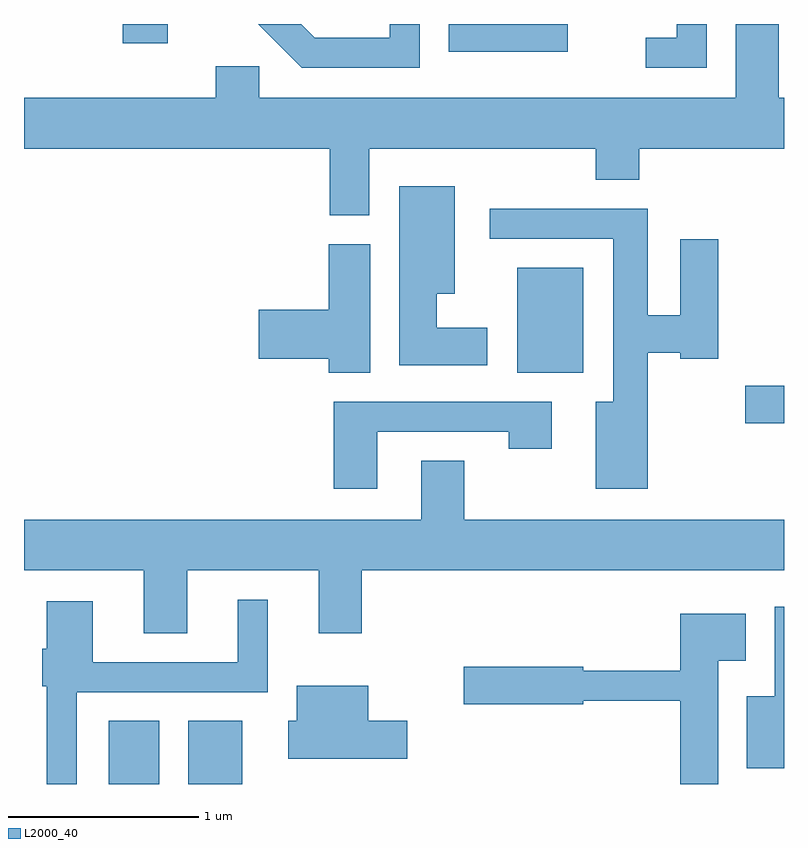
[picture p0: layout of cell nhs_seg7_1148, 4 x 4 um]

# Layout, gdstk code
import gdstk
lib = gdstk.Library(unit=1e-6, precision=1e-09)
def R(c, l, rs):  # rectangles x0, y0, x1, y1
    for r in rs: c.add(gdstk.rectangle(r[:2], r[2:], *l))
def P(c, l, *ps):  # polygons
    for p in ps: c.add(gdstk.Polygon(p, *l))
L2000_40 = (2000, 40)

nhs_seg7_1148 = lib.new_cell('nhs_seg7_1148')
R(nhs_seg7_1148, L2000_40, [(220.056,1764.252,220.324,1764.584), (220.476,1764.252,220.759,1764.584), (223.406,1766.151,223.611,1766.349), (222.206,1766.416,222.554,1766.969), (221.846,1768.106,222.474,1768.252), (220.131,1768.151,220.368,1768.252)])
P(nhs_seg7_1148, L2000_40, [(221.429,1767.596),(222.621,1767.596),(222.621,1767.431),(222.849,1767.431),(222.849,1767.596),(223.611,1767.596),(223.611,1767.864),(223.584,1767.864),(223.584,1768.252),(223.356,1768.252),(223.356,1767.864),(220.849,1767.864),(220.849,1768.029),(220.621,1768.029),(220.621,1767.864),(219.611,1767.864),(219.611,1767.596),(221.221,1767.596),(221.221,1767.246),(221.429,1767.246)],
  [(223.204,1768.252),(223.046,1768.252),(223.046,1768.179),(222.883,1768.179),(222.883,1768.021),(223.204,1768.021)],
  [(221.694,1768.252),(221.536,1768.252),(221.536,1768.179),(221.142,1768.179),(221.069,1768.252),(220.843,1768.252),(221.074,1768.021),(221.694,1768.021)],
  [(222.049,1766.654),(221.784,1766.654),(221.784,1766.831),(221.879,1766.831),(221.879,1767.399),(221.586,1767.399),(221.586,1766.456),(222.049,1766.456)],
  [(222.894,1766.521),(223.066,1766.521),(223.066,1766.491),(223.264,1766.491),(223.264,1767.119),(223.066,1767.119),(223.066,1766.719),(222.894,1766.719),(222.894,1767.279),(222.063,1767.279),(222.063,1767.121),(222.711,1767.121),(222.711,1766.264),(222.621,1766.264),(222.621,1765.806),(222.894,1765.806)],
  [(221.434,1767.094),(221.216,1767.094),(221.216,1766.749),(220.846,1766.749),(220.846,1766.491),(221.216,1766.491),(221.216,1766.416),(221.434,1766.416)],
  [(221.469,1766.106),(222.161,1766.106),(222.161,1766.016),(222.389,1766.016),(222.389,1766.264),(221.241,1766.264),(221.241,1765.806),(221.469,1765.806)],
  [(220.469,1765.376),(221.161,1765.376),(221.161,1765.046),(221.389,1765.046),(221.389,1765.376),(223.611,1765.376),(223.611,1765.644),(221.929,1765.644),(221.929,1765.954),(221.701,1765.954),(221.701,1765.644),(219.611,1765.644),(219.611,1765.376),(220.241,1765.376),(220.241,1765.046),(220.469,1765.046)],
  [(219.889,1764.736),(220.894,1764.736),(220.894,1765.223),(220.736,1765.223),(220.736,1764.894),(219.974,1764.894),(219.974,1765.214),(219.731,1765.214),(219.731,1764.964),(219.706,1764.964),(219.706,1764.766),(219.731,1764.766),(219.731,1764.252),(219.889,1764.252)],
  [(223.611,1765.184),(223.561,1765.184),(223.561,1764.714),(223.416,1764.714),(223.416,1764.336),(223.611,1764.336)],
  [(223.264,1764.901),(223.409,1764.901),(223.409,1765.149),(223.066,1765.149),(223.066,1764.849),(222.554,1764.849),(222.554,1764.869),(221.926,1764.869),(221.926,1764.671),(222.554,1764.671),(222.554,1764.691),(223.066,1764.691),(223.066,1764.252),(223.264,1764.252)],
  [(221.629,1764.584),(221.424,1764.584),(221.424,1764.769),(221.046,1764.769),(221.046,1764.584),(221.001,1764.584),(221.001,1764.386),(221.629,1764.386)])

lib.write_gds('nhs_seg7_1148.gds')
